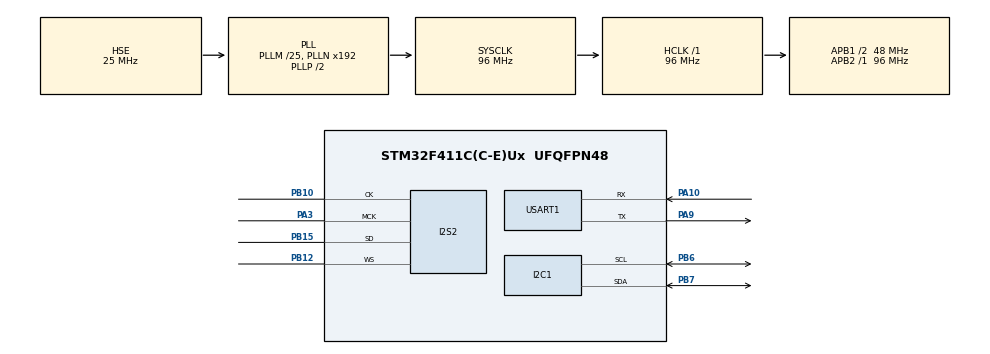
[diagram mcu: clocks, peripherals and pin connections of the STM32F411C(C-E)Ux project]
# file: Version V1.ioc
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Dma.Request0=SPI2_TX
Dma.SPI2_TX.0.Direction=DMA_MEMORY_TO_PERIPH
Dma.SPI2_TX.0.FIFOMode=DMA_FIFOMODE_DISABLE
Dma.SPI2_TX.0.Instance=DMA1_Stream4
Dma.SPI2_TX.0.MemDataAlignment=DMA_MDATAALIGN_HALFWORD
Dma.SPI2_TX.0.MemInc=DMA_MINC_ENABLE
Dma.SPI2_TX.0.Mode=DMA_CIRCULAR
Dma.SPI2_TX.0.PeriphDataAlignment=DMA_PDATAALIGN_HALFWORD
Dma.SPI2_TX.0.PeriphInc=DMA_PINC_DISABLE
Dma.SPI2_TX.0.Priority=DMA_PRIORITY_LOW
I2S2.AudioFreq=I2S_AUDIOFREQ_48K
I2S2.DataFormat=I2S_DATAFORMAT_16B_EXTENDED
I2S2.ErrorAudioFreq=-2.34 %
I2S2.FullDuplexMode=I2S_FULLDUPLEXMODE_DISABLE
I2S2.Instance=SPI$Index
I2S2.RealAudioFreq=46.875 KHz
I2S2.VirtualMode=I2S_MODE_MASTER
Mcu.Family=STM32F4
Mcu.Name=STM32F411C(C-E)Ux
Mcu.Package=UFQFPN48
NVIC.DMA1_Stream4_IRQn=true\:0\:0\:false\:false\:true\:false\:true\:true
NVIC.PriorityGroup=NVIC_PRIORITYGROUP_4
PA10.Mode=Asynchronous
PA10.Signal=USART1_RX
PA13.Mode=Serial_Wire
PA13.Signal=SYS_JTMS-SWDIO
PA14.Mode=Serial_Wire
PA14.Signal=SYS_JTCK-SWCLK
PA3.Mode=Master_Clock_Activated
PA3.Signal=I2S2_MCK
PA9.Mode=Asynchronous
PA9.Signal=USART1_TX
PB10.Mode=Half_Duplex_Master
PB10.Signal=I2S2_CK
PB12.Mode=Half_Duplex_Master
PB12.Signal=I2S2_WS
PB15.Mode=Half_Duplex_Master
PB15.Signal=I2S2_SD
PB6.Mode=I2C
PB6.Signal=I2C1_SCL
PB7.Mode=I2C
PB7.Signal=I2C1_SDA
PH0\ -\ OSC_IN.Mode=HSE-External-Oscillator
PH0\ -\ OSC_IN.Signal=RCC_OSC_IN
PH1\ -\ OSC_OUT.Mode=HSE-External-Oscillator
PH1\ -\ OSC_OUT.Signal=RCC_OSC_OUT
ProjectManager.HeapSize=0x200
ProjectManager.StackSize=0x400
ProjectManager.TargetToolchain=STM32CubeIDE
RCC.48MHZClocksFreq_Value=48000000
RCC.AHBFreq_Value=96000000
RCC.APB1CLKDivider=RCC_HCLK_DIV2
RCC.APB1Freq_Value=48000000
RCC.APB1TimFreq_Value=96000000
RCC.APB2Freq_Value=96000000
RCC.APB2TimFreq_Value=96000000
RCC.CortexFreq_Value=96000000
RCC.HCLKFreq_Value=96000000
RCC.HSE_VALUE=25000000
RCC.HSI_VALUE=16000000
RCC.LSE_VALUE=32768
RCC.PLLI2SM=25
RCC.PLLM=25
RCC.PLLSourceVirtual=RCC_PLLSOURCE_HSE
RCC.SYSCLKFreq_VALUE=96000000
RCC.SYSCLKSource=RCC_SYSCLKSOURCE_PLLCLK
RCC.VCOOutputFreq_Value=192000000
USART1.VirtualMode=VM_ASYNC
board=custom

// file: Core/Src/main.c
/* USER CODE BEGIN Header */
/**
  ******************************************************************************
  * @file           : main.c
  * @brief          : Main program body
  ******************************************************************************
  * @attention
  *
  * Copyright (c) 2026 STMicroelectronics.
  * All rights reserved.
  *
  * This software is licensed under terms that can be found in the LICENSE file
  * in the root directory of this software component.
  * If no LICENSE file comes with this software, it is provided AS-IS.
  *
  ******************************************************************************
  */
/* USER CODE END Header */
#include "main.h"

/* USER CODE BEGIN Includes */
#include "sine_table.h"
/* USER CODE END Includes */

/* USER CODE BEGIN PD */
#define HALF     256                 // frames por media del buffer
#define NSAMP    (4*HALF)            // total int16: 2 medias × 2 canales × HALF
#define FS       46875.0             // ¡la fs REAL del I2S! (no 48000)
#define AMP_STEP 248                 // paso de amplitud
#define PCM_ADDR (0x46 << 1)         // dirección I2C del codec (HAL usa 8 bits)
/* USER CODE END PD */

I2C_HandleTypeDef hi2c1;

I2S_HandleTypeDef hi2s2;
DMA_HandleTypeDef hdma_spi2_tx;

UART_HandleTypeDef huart1;

/* USER CODE BEGIN PV */
uint32_t          acc[2]       = {0, 0};
volatile uint32_t ftw[2]       = {0, 0};
volatile uint8_t  salida_on[2] = {1, 1};
volatile int32_t  amp[2]       = {2048, 2048};
volatile uint8_t  canal        = 0;
int16_t           audio_buf[NSAMP];   // buffer estéreo que sale por DMA
/* USER CODE END PV */

void SystemClock_Config(void);
static void MX_GPIO_Init(void);
static void MX_DMA_Init(void);
static void MX_I2C1_Init(void);
static void MX_I2S2_Init(void);
static void MX_USART1_UART_Init(void);
/* USER CODE BEGIN PFP */
static void fill(int16_t *dst);
static void pcm_write(uint8_t reg, uint8_t val);
/* USER CODE END PFP */

int main(void)
{

  /* MCU Configuration--------------------------------------------------------*/

  /* Reset of all peripherals, Initializes the Flash interface and the Systick. */
  HAL_Init();

  /* Configure the system clock */
  SystemClock_Config();

  /* Initialize all configured peripherals */
  MX_GPIO_Init();
  MX_DMA_Init();
  MX_I2C1_Init();
  MX_I2S2_Init();
  MX_USART1_UART_Init();
  /* USER CODE BEGIN 2 */
  ftw[0] = (uint32_t)(500.0 * 4294967296.0 / FS);  // canal L: 500 Hz
  ftw[1] = 0;                                       // canal R: mudo

  fill(&audio_buf[0]);
  fill(&audio_buf[2*HALF]);                         // pre-cargo el buffer
  HAL_I2S_Transmit_DMA(&hi2s2, (uint16_t*)audio_buf, NSAMP);   // ¡arrancan los relojes!

  HAL_Delay(50);            // que se estabilicen MCLK/BCK/LRCK
  pcm_write(64, 0xE1);      // despierta el DAC (single-ended)
  pcm_write(65, 0xFF);      // volumen L = 0 dB
  pcm_write(66, 0xFF);      // volumen R = 0 dB
  /* USER CODE END 2 */

  /* Infinite loop */
  while (1)
  {

  }
}

void SystemClock_Config(void)
{
  RCC_OscInitTypeDef RCC_OscInitStruct = {0};
  RCC_ClkInitTypeDef RCC_ClkInitStruct = {0};

  /** Configure the main internal regulator output voltage
  */
  __HAL_RCC_PWR_CLK_ENABLE();
  __HAL_PWR_VOLTAGESCALING_CONFIG(PWR_REGULATOR_VOLTAGE_SCALE1);

  /** Initializes the RCC Oscillators according to the specified parameters
  * in the RCC_OscInitTypeDef structure.
  */
  RCC_OscInitStruct.OscillatorType = RCC_OSCILLATORTYPE_HSE;
  RCC_OscInitStruct.HSEState = RCC_HSE_ON;
  RCC_OscInitStruct.PLL.PLLState = RCC_PLL_ON;
  RCC_OscInitStruct.PLL.PLLSource = RCC_PLLSOURCE_HSE;
  RCC_OscInitStruct.PLL.PLLM = 25;
  RCC_OscInitStruct.PLL.PLLN = 192;
  RCC_OscInitStruct.PLL.PLLP = RCC_PLLP_DIV2;
  RCC_OscInitStruct.PLL.PLLQ = 4;
  if (HAL_RCC_OscConfig(&RCC_OscInitStruct) != HAL_OK)
  {
    Error_Handler();
  }

  /** Initializes the CPU, AHB and APB buses clocks
  */
  RCC_ClkInitStruct.ClockType = RCC_CLOCKTYPE_HCLK|RCC_CLOCKTYPE_SYSCLK
                              |RCC_CLOCKTYPE_PCLK1|RCC_CLOCKTYPE_PCLK2;
  RCC_ClkInitStruct.SYSCLKSource = RCC_SYSCLKSOURCE_PLLCLK;
  RCC_ClkInitStruct.AHBCLKDivider = RCC_SYSCLK_DIV1;
  RCC_ClkInitStruct.APB1CLKDivider = RCC_HCLK_DIV2;
  RCC_ClkInitStruct.APB2CLKDivider = RCC_HCLK_DIV1;

  if (HAL_RCC_ClockConfig(&RCC_ClkInitStruct, FLASH_LATENCY_3) != HAL_OK)
  {
    Error_Handler();
  }
}

static void MX_I2C1_Init(void)
{

  hi2c1.Instance = I2C1;
  hi2c1.Init.ClockSpeed = 100000;
  hi2c1.Init.DutyCycle = I2C_DUTYCYCLE_2;
  hi2c1.Init.OwnAddress1 = 0;
  hi2c1.Init.AddressingMode = I2C_ADDRESSINGMODE_7BIT;
  hi2c1.Init.DualAddressMode = I2C_DUALADDRESS_DISABLE;
  hi2c1.Init.OwnAddress2 = 0;
  hi2c1.Init.GeneralCallMode = I2C_GENERALCALL_DISABLE;
  hi2c1.Init.NoStretchMode = I2C_NOSTRETCH_DISABLE;
  if (HAL_I2C_Init(&hi2c1) != HAL_OK)
  {
    Error_Handler();
  }

}

static void MX_I2S2_Init(void)
{

  hi2s2.Instance = SPI2;
  hi2s2.Init.Mode = I2S_MODE_MASTER_TX;
  hi2s2.Init.Standard = I2S_STANDARD_PHILIPS;
  hi2s2.Init.DataFormat = I2S_DATAFORMAT_16B_EXTENDED;
  hi2s2.Init.MCLKOutput = I2S_MCLKOUTPUT_ENABLE;
  hi2s2.Init.AudioFreq = I2S_AUDIOFREQ_48K;
  hi2s2.Init.CPOL = I2S_CPOL_LOW;
  hi2s2.Init.ClockSource = I2S_CLOCK_PLL;
  hi2s2.Init.FullDuplexMode = I2S_FULLDUPLEXMODE_DISABLE;
  if (HAL_I2S_Init(&hi2s2) != HAL_OK)
  {
    Error_Handler();
  }

}

static void MX_USART1_UART_Init(void)
{

  huart1.Instance = USART1;
  huart1.Init.BaudRate = 115200;
  huart1.Init.WordLength = UART_WORDLENGTH_8B;
  huart1.Init.StopBits = UART_STOPBITS_1;
  huart1.Init.Parity = UART_PARITY_NONE;
  huart1.Init.Mode = UART_MODE_TX_RX;
  huart1.Init.HwFlowCtl = UART_HWCONTROL_NONE;
  huart1.Init.OverSampling = UART_OVERSAMPLING_16;
  if (HAL_UART_Init(&huart1) != HAL_OK)
  {
    Error_Handler();
  }

}

static void MX_DMA_Init(void)
{

  /* DMA controller clock enable */
  __HAL_RCC_DMA1_CLK_ENABLE();

  /* DMA interrupt init */
  /* DMA1_Stream4_IRQn interrupt configuration */
  HAL_NVIC_SetPriority(DMA1_Stream4_IRQn, 0, 0);
  HAL_NVIC_EnableIRQ(DMA1_Stream4_IRQn);

}

static void MX_GPIO_Init(void)
{

  /* GPIO Ports Clock Enable */
  __HAL_RCC_GPIOH_CLK_ENABLE();
  __HAL_RCC_GPIOA_CLK_ENABLE();
  __HAL_RCC_GPIOB_CLK_ENABLE();

}

/* USER CODE BEGIN 4 */
/* Genera HALF frames (L,R) corriendo el DDS de los 2 canales */
static void fill(int16_t *dst)
{
    for (int i = 0; i < HALF; i++) {
        acc[0] += ftw[0];
        acc[1] += ftw[1];
        int32_t c0 = (int32_t)sine_table[acc[0] >> 19] - 2048;  // centrar en 0
        int32_t c1 = (int32_t)sine_table[acc[1] >> 19] - 2048;
        int32_t l = salida_on[0] ? (c0 * amp[0]) / 2048 : 0;    // -2048..2047
        int32_t r = salida_on[1] ? (c1 * amp[1]) / 2048 : 0;
        dst[2*i]     = (int16_t)(l << 4);   // canal L (escala 12→16 bit con signo)
        dst[2*i + 1] = (int16_t)(r << 4);   // canal R
    }
}

void HAL_I2S_TxHalfCpltCallback(I2S_HandleTypeDef *hi2s) { fill(&audio_buf[0]);      }
void HAL_I2S_TxCpltCallback   (I2S_HandleTypeDef *hi2s) { fill(&audio_buf[2*HALF]); }

/* escribe un registro del codec por I2C */
static void pcm_write(uint8_t reg, uint8_t val)
{
    uint8_t d[2] = { reg, val };
    HAL_I2C_Master_Transmit(&hi2c1, PCM_ADDR, d, 2, HAL_MAX_DELAY);
}
/* USER CODE END 4 */

void Error_Handler(void)
{
  __disable_irq();
  while (1)
  {
  }
}
